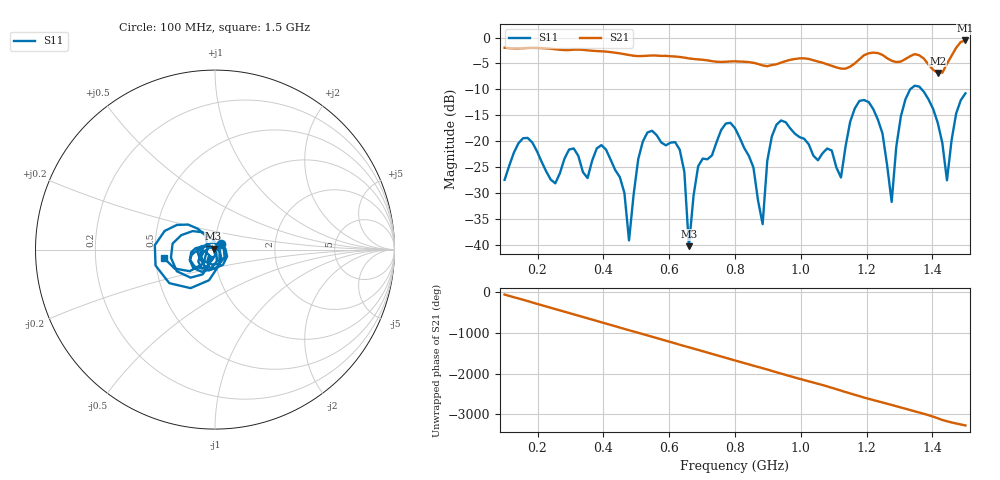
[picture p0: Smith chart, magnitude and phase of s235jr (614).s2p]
! NanoVNA-App
! Date: 2025-09-25 15:08:57
! Start: 100MHz Stop: 1,5GHz Points: 101
! S-Parameter data: F S11 S21 S12 S22
# Hz S RI R 50
!  Frequency  S11_Real  S11_Imag  S21_Real  S21_Imag  S12_Real  S12_Imag  S22_Real  S22_Imag
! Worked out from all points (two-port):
!   101 points, 100 MHz to 1.5 GHz, reference 50 ohm
!   highest |S21| = -0.56 dB at 1.5 GHz (marker M1); lowest = -6.8 dB at 1.416 GHz (marker M2)
!   |S21| within 3 dB of the highest: start of sweep to 501.8 MHz; 520.2 MHz to 594.4 MHz (74.19 MHz wide, 13.3 % of centre) (the widest 2 of 5)
!   lowest |S11| = -40.3 dB at 660 MHz (marker M3), VSWR 1.02, Z = 49.2 + j0.555 ohm
!   |S11| at or under -10 dB: start of sweep to 1.332 GHz; 1.367 GHz to end of sweep
!   S12 and S22 are empty: the file has one direction only
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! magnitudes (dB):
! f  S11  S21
! 100 MHz  -27.5  -2.0
! 156 MHz  -19.4  -2.1
! 338 MHz  -26.0  -2.4
! 408 MHz  -21.6  -2.7
! 478 MHz  -39.2  -3.4
! 520 MHz  -20.1  -3.6
! 576 MHz  -20.3  -3.5
! 632 MHz  -21.6  -3.7
! 660 MHz  -40.3  -4.0
! 688 MHz  -24.9  -4.2
! 800 MHz  -17.5  -4.6
! 884 MHz  -36.0  -5.4
! 926 MHz  -16.8  -5.2
! 1.038 GHz  -22.8  -4.4
! 1.122 GHz  -27.0  -6.0
! 1.164 GHz  -13.7  -5.0
! 1.206 GHz  -12.4  -3.0
! 1.276 GHz  -31.7  -4.5
! 1.332 GHz  -10.0  -3.6
! 1.416 GHz  -16.5  -6.8
! 1.444 GHz  -27.6  -5.1
! 1.5 GHz  -10.8  -0.6
